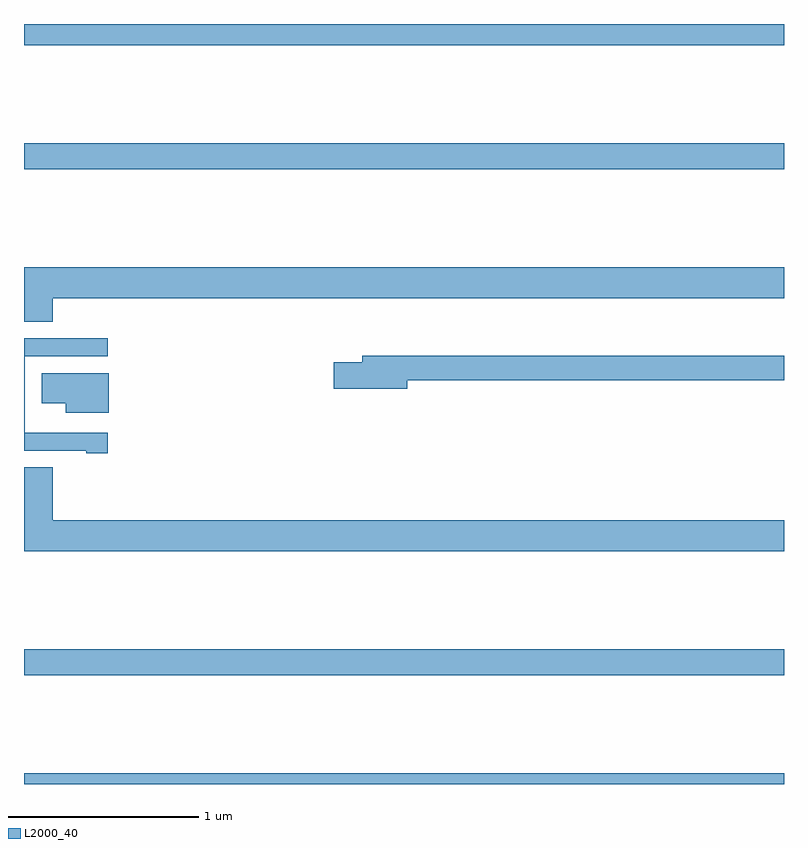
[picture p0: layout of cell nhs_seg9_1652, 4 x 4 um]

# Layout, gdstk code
import gdstk
lib = gdstk.Library(unit=1e-6, precision=1e-09)
def R(c, l, rs):  # rectangles x0, y0, x1, y1
    for r in rs: c.add(gdstk.rectangle(r[:2], r[2:], *l))
def P(c, l, *ps):  # polygons
    for p in ps: c.add(gdstk.Polygon(p, *l))
L2000_40 = (2000, 40)

nhs_seg9_1652 = lib.new_cell('nhs_seg9_1652')
R(nhs_seg9_1652, L2000_40, [(203,1224.5,207,1224.556), (203,1225.072,207,1225.208), (203,1227.736,207,1227.872), (203,1228.388,207,1228.5)])
P(nhs_seg9_1652, L2000_40, [(203.15,1227.056),(207,1227.056),(207,1227.22),(203,1227.22),(203,1226.932),(203.15,1226.932)],
  [(203.44,1226.349),(203.006,1226.349),(203.006,1226.35),(203.004,1226.35),(203.004,1226.751),(203.44,1226.751),(203.44,1226.847),(203,1226.847),(203,1226.253),(203.327,1226.253),(203.327,1226.241),(203.44,1226.241)],
  [(205.018,1226.626),(207,1226.626),(207,1226.755),(204.779,1226.755),(204.779,1226.721),(204.63,1226.721),(204.63,1226.579),(205.018,1226.579)],
  [(203.446,1226.662),(203.094,1226.662),(203.094,1226.504),(203.219,1226.504),(203.219,1226.453),(203.446,1226.453)],
  [(207,1225.888),(203.15,1225.888),(203.15,1226.168),(203,1226.168),(203,1225.724),(207,1225.724)])

lib.write_gds('nhs_seg9_1652.gds')
